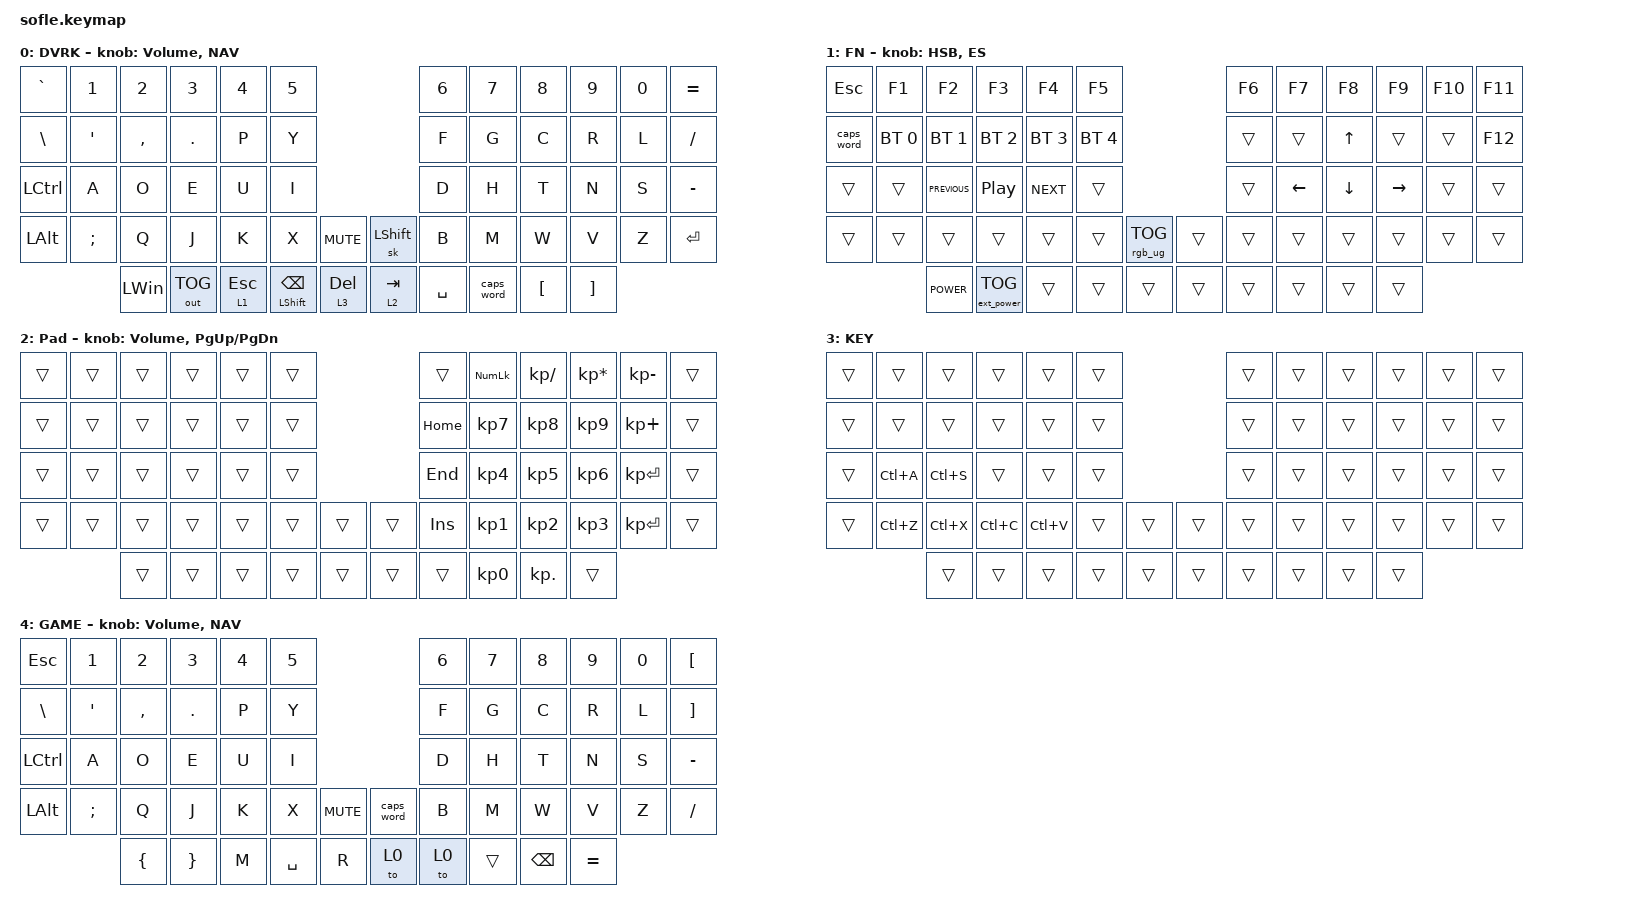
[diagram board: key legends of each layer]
/*
 * Copyright (c) 2020 The ZMK Contributors
 *
 * SPDX-License-Identifier: MIT
 */

#include <behaviors.dtsi>
#include <dt-bindings/zmk/bt.h>
#include <dt-bindings/zmk/ext_power.h>
#include <dt-bindings/zmk/keys.h>
#include <dt-bindings/zmk/outputs.h>
#include <dt-bindings/zmk/rgb.h>

/ {
    behaviors {
        HSB: HSB {
            compatible = "zmk,behavior-sensor-rotate";
            label = "HSB";
            #sensor-binding-cells = <0>;
            bindings = <&DEC_HSB>, <&INC_HSB>;
        };

        Volume: Volume {
            compatible = "zmk,behavior-sensor-rotate";
            label = "VOLUME";
            #sensor-binding-cells = <0>;
            bindings = <&kp LS(C_VOLUME_DOWN)>, <&kp C_VOLUME_UP>;
        };

        INC_HB: INC_HB {
            compatible = "zmk,behavior-mod-morph";
            label = "INC_HB";
            bindings = <&rgb_ug RGB_BRI>, <&rgb_ug RGB_HUI>;

            #binding-cells = <0>;
            mods = <(MOD_LSFT|MOD_RSFT)>;
        };

        DEC_HB: DEC_HB {
            compatible = "zmk,behavior-mod-morph";
            label = "DEC_HB";
            bindings = <&rgb_ug RGB_BRD>, <&rgb_ug RGB_HUD>;

            #binding-cells = <0>;
            mods = <(MOD_RSFT|MOD_LSFT)>;
        };

        INC_HSB: INC_HSB {
            compatible = "zmk,behavior-mod-morph";
            label = "INC_HSB";
            bindings = <&INC_HB>, <&rgb_ug RGB_SAI>;

            #binding-cells = <0>;
            mods = <(MOD_LALT|MOD_RALT)>;
        };

        DEC_HSB: DEC_HSB {
            compatible = "zmk,behavior-mod-morph";
            label = "DEC_HSB";
            bindings = <&DEC_HB>, <&rgb_ug RGB_SAD>;

            #binding-cells = <0>;
            mods = <(MOD_LALT|MOD_RALT)>;
        };

        RIGHT_UP: RIGHT_UP {
            compatible = "zmk,behavior-mod-morph";
            label = "RIGHT_UP";
            bindings = <&kp RIGHT>, <&kp UP>;

            #binding-cells = <0>;
            mods = <(MOD_LALT|MOD_RALT)>;
        };

        LEFT_DOWN: LEFT_DOWN {
            compatible = "zmk,behavior-mod-morph";
            label = "LEFT_DOWN";
            bindings = <&kp LEFT>, <&kp DOWN>;

            #binding-cells = <0>;
            mods = <(MOD_LALT|MOD_RALT)>;
        };

        NAV: NAV {
            compatible = "zmk,behavior-sensor-rotate";
            label = "NAV";
            #sensor-binding-cells = <0>;
            bindings = <&RIGHT_UP>, <&LEFT_DOWN>;
        };

        INC_ES: INC_ES {
            compatible = "zmk,behavior-mod-morph";
            label = "INC_ES";
            bindings = <&rgb_ug RGB_EFF>, <&rgb_ug RGB_SPI>;

            #binding-cells = <0>;
            mods = <(MOD_LSFT|MOD_RSFT)>;
        };

        DEC_ES: DEC_ES {
            compatible = "zmk,behavior-mod-morph";
            label = "DEC_ES";
            bindings = <&rgb_ug RGB_EFR>, <&rgb_ug RGB_SPD>;

            #binding-cells = <0>;
            mods = <(MOD_LSFT|MOD_RSFT)>;
        };

        ES: ES {
            compatible = "zmk,behavior-sensor-rotate";
            label = "ES";
            #sensor-binding-cells = <0>;
            bindings = <&INC_ES>, <&DEC_ES>;
        };

        SOFT_OFF_1s: SOFT_OFF_1s {
            compatible = "zmk,behavior-soft-off";
            label = "SOFT_OFF_1S";
            #binding-cells = <0>;
            hold-time-ms = <1000>;
            split-peripheral-off-on-press;
        };
    };

    combos {
        compatible = "zmk,combos";

        home {
            bindings = <&to 0>;
            key-positions = <31 56>;
        };

        Game {
            bindings = <&to 4>;
            key-positions = <15 53>;
        };
    };

    macros {
        new_macro: new_macro {
            compatible = "zmk,behavior-macro";
            #binding-cells = <0>;
            bindings = <&none>;
            label = "NEW_MACRO";
        };
    };

    keymap {
        compatible = "zmk,keymap";

        DVORAK {
            display-name = "DVRK";
            bindings = <
&kp GRAVE         &kp N1         &kp N2        &kp N3        &kp N4        &kp N5                                                    &kp N6     &kp N7      &kp N8            &kp N9             &kp N0  &kp EQUAL
&kp BACKSLASH     &kp SQT        &kp COMMA     &kp PERIOD    &kp P         &kp Y                                                     &kp F      &kp G       &kp C             &kp R              &kp L   &kp SLASH
&kp LEFT_CONTROL  &kp A          &kp O         &kp E         &kp U         &kp I                                                     &kp D      &kp H       &kp T             &kp N              &kp S   &kp MINUS
&kp LEFT_ALT      &kp SEMICOLON  &kp Q         &kp J         &kp K         &kp X                     &kp C_MUTE      &sk LEFT_SHIFT  &kp B      &kp M       &kp W             &kp V              &kp Z   &kp ENTER
                                 &kp LEFT_WIN  &out OUT_TOG  &lt 1 ESCAPE  &mt LEFT_SHIFT BACKSPACE  &lt 3 DELETE    &lt 2 TAB       &kp SPACE  &caps_word  &kp LEFT_BRACKET  &kp RIGHT_BRACKET
            >;

            sensor-bindings = <&Volume>, <&NAV>;

            label = "DV";
        };

        Function {
            bindings = <
&kp ESCAPE  &kp F1        &kp F2          &kp F3             &kp F4        &kp F5                                   &kp F6  &kp F7    &kp F8        &kp F9     &kp F10  &kp F11
&caps_word  &bt BT_SEL 0  &bt BT_SEL 1    &bt BT_SEL 2       &bt BT_SEL 3  &bt BT_SEL 4                             &trans  &trans    &kp UP_ARROW  &trans     &trans   &kp F12
&trans      &trans        &kp C_PREVIOUS  &kp C_PLAY_PAUSE   &kp C_NEXT    &trans                                   &trans  &kp LEFT  &kp DOWN      &kp RIGHT  &trans   &trans
&trans      &trans        &trans          &trans             &trans        &trans        &rgb_ug RGB_TOG    &trans  &trans  &trans    &trans        &trans     &trans   &trans
                          &kp C_POWER     &ext_power EP_TOG  &trans        &trans        &trans             &trans  &trans  &trans    &trans        &trans
            >;

            label = "FN";
            sensor-bindings = <&HSB>, <&ES>;
        };

        Keypad {
            bindings = <
&trans  &trans  &trans  &trans  &trans  &trans                    &trans    &kp KP_NUMLOCK   &kp KP_SLASH  &kp KP_MULTIPLY  &kp KP_SUBTRACT  &trans
&trans  &trans  &trans  &trans  &trans  &trans                    &kp HOME  &kp KP_N7        &kp KP_N8     &kp KP_N9        &kp KP_PLUS      &trans
&trans  &trans  &trans  &trans  &trans  &trans                    &kp END   &kp KP_N4        &kp KP_N5     &kp KP_N6        &kp KP_ENTER     &trans
&trans  &trans  &trans  &trans  &trans  &trans  &trans    &trans  &kp INS   &kp KP_NUMBER_1  &kp KP_N2     &kp KP_N3        &kp KP_ENTER     &trans
                &trans  &trans  &trans  &trans  &trans    &trans  &trans    &kp KP_N0        &kp KP_DOT    &trans
            >;

            label = "Pad";
            sensor-bindings = <&Volume>, <&inc_dec_kp PG_UP PAGE_DOWN>;
        };

        Shortcuts {
            bindings = <
&trans  &trans     &trans     &trans     &trans     &trans                    &trans  &trans  &trans  &trans  &trans  &trans
&trans  &trans     &trans     &trans     &trans     &trans                    &trans  &trans  &trans  &trans  &trans  &trans
&trans  &kp LC(A)  &kp LC(S)  &trans     &trans     &trans                    &trans  &trans  &trans  &trans  &trans  &trans
&trans  &kp LC(Z)  &kp LC(X)  &kp LC(C)  &kp LC(V)  &trans  &trans    &trans  &trans  &trans  &trans  &trans  &trans  &trans
                   &trans     &trans     &trans     &trans  &trans    &trans  &trans  &trans  &trans  &trans
            >;

            label = "KEY";
        };

        Gaming {
            label = "GAME";
            display-name = "GAME";
            bindings = <
&kp ESCAPE        &kp N1         &kp N2          &kp N3           &kp N4  &kp N5                               &kp N6  &kp N7  &kp N8         &kp N9     &kp N0  &kp LEFT_BRACKET
&kp BACKSLASH     &kp SQT        &kp COMMA       &kp PERIOD       &kp P   &kp Y                                &kp F   &kp G   &kp C          &kp R      &kp L   &kp RIGHT_BRACKET
&kp LEFT_CONTROL  &kp A          &kp O           &kp E            &kp U   &kp I                                &kp D   &kp H   &kp T          &kp N      &kp S   &kp MINUS
&kp LEFT_ALT      &kp SEMICOLON  &kp Q           &kp J            &kp K   &kp X      &kp C_MUTE    &caps_word  &kp B   &kp M   &kp W          &kp V      &kp Z   &kp SLASH
                                 &kp LEFT_BRACE  &kp RIGHT_BRACE  &kp M   &kp SPACE  &kp R         &to 0       &to 0   &trans  &kp BACKSPACE  &kp EQUAL
            >;

            sensor-bindings = <&Volume>, <&NAV>;
        };
    };
};
